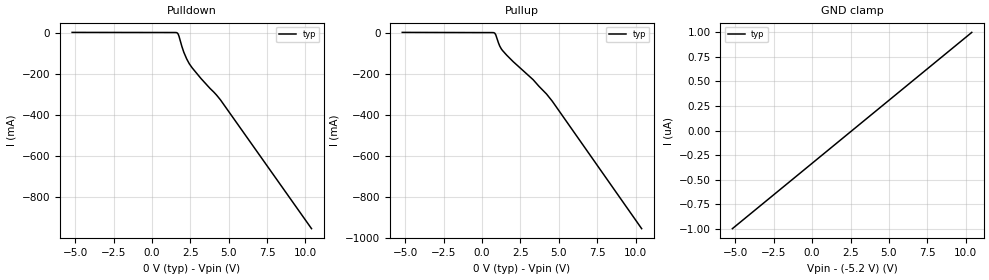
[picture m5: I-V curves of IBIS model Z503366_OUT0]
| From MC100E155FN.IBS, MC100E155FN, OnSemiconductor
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| (C) COPYRIGHT 1993-2000
| MENTOR GRAPHICS CORPORATION
| ICX STANDARD LIBRARY, ICX PROJECT MODELING,
| ICX CUSTOM MODELING, ICX VENDOR MODEL
| ALL RIGHTS RESERVED.
| THE FOLLOWING ARE TRADEMARKS OR SERVICE MARKS OF
| MENTOR GRAPHICS CORPORATION:ICX (R), ICX STANDARD
| LIBRARY(R), ICX PROJECT MODELING(R), ICX CUSTOM
| MODELING(R), qualityIBIS(TM), MODELVIEWER(TM),
| AND MODELEDITOR(TM)
| ALL COPIES OF SOFTWARE, INCLUDING BUT NOT LIMITED TO
| ANY MODIFICATIONS, ENHANCEMENTS OR DERIVATIVE WORKS,
| MUST CONTAIN ALL MENTOR GRAPHICS CORPORATION'S
| NOTICES AND LEGENDS, INCLUDING THOSE EMBEDDED IN
| SOFTWARE AND THOSE AFFIXED TO SOFTWARE MEDIUM
| AND CONTAINER, AS RECEIVED FROM MENTOR GRAPHICS
| CORPORATION.
| Model Application Version 1.89 2/18/99.
[Model] Z503366_OUT0
Model_type Output_ECL
Vref=-2.000V
Rref=50.00ohms
Cref=0.000F
Vmeas=-1.320V
C_comp 8.000pF NA NA
| variable typ   min   max
[Voltage Range] -5.200V NA NA
[POWER Clamp Reference] 0.000V NA NA
[Pullup Reference] 0.000V NA NA
[Pulldown Reference] 0.000V NA NA
[GND Clamp Reference] -5.200V NA NA
[GND Clamp]
-5.2V     -1uA       NA         NA
10.4V     1uA        NA         NA
[Pulldown]
-5.2V     511uA      NA         NA
1.66V     -2.616mA   NA         NA
1.764V    -18.2mA    NA         NA
1.949V    -67.06mA   NA         NA
2.075V    -95.32mA   NA         NA
2.261V    -127.6mA   NA         NA
2.433V    -151.6mA   NA         NA
3.193V    -223mA     NA         NA
4.46V     -326.4mA   NA         NA
10.4V     -952.3mA   NA         NA
[Pullup]
-5.2V     883.2uA    NA         NA
823.7mV   -2.646mA   NA         NA
893.4mV   -10.87mA   NA         NA
1.153V    -65.86mA   NA         NA
1.329V    -86.91mA   NA         NA
2.026V    -141.6mA   NA         NA
3.329V    -229.7mA   NA         NA
4.193V    -298.8mA   NA         NA
4.574V    -334.3mA   NA         NA
10.4V     -955.9mA   NA         NA
[POWER Clamp]
-5.2V     0A         NA         NA
10.4V     0A         NA         NA
[Ramp]
| variable typ min max
dV/dt_r 476.6m/215.1p NA NA
dV/dt_f 476.6m/212.8p NA NA
R_load = 500.0Ohms
